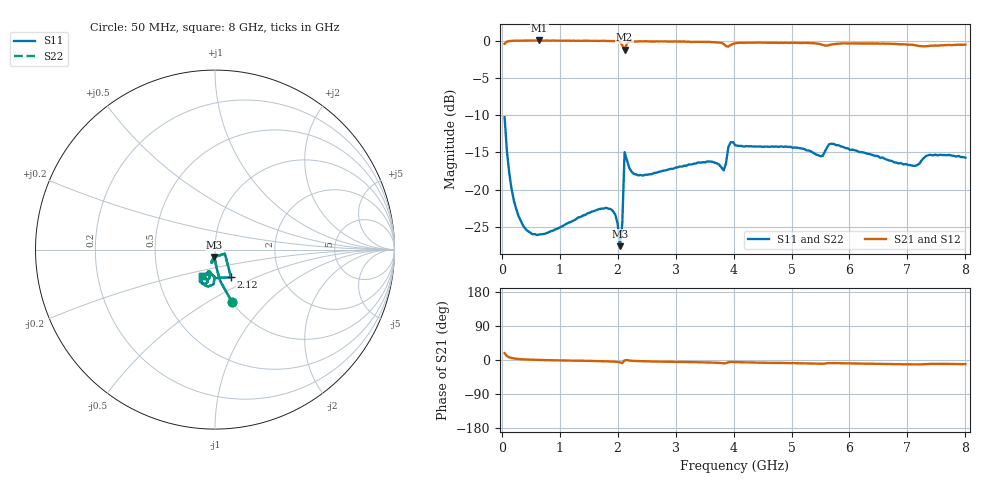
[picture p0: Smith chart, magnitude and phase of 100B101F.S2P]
!  American Technical Ceramics  Date:  3/13/98
!  One Norden Lane
!  Huntington Station,  NY.  11746-2102
!  Tel:  (516) 547-5700  Fax:  (516) 547-5748
!  Part Number  100b101f
!  Description: Porcelain, High Q, Low ESR
!  Application: Bypass, Coupling, Timing, Feedback
!  Tuning, Impedance Match, Blocking
# GHZ S DB R 50
! Freq  |S11|  S11 Ph  |S21|  S21 Ph  |S12|  S12 Ph  |S22|  S22 Ph
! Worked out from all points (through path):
!   201 points, 50 MHz to 8 GHz, reference 50 ohm
!   highest |S21| = 0.02 dB at 650 MHz (marker M1); lowest = -1.2 dB at 2.12 GHz (marker M2)
!   group delay of S21, straight-line fit = 4.84 ps
!   lowest |S11| = -27.6 dB at 2.04 GHz (marker M3), VSWR 1.09, Z = 49.5 - j4.13 ohm
!   |S11| at or under -10 dB: start of sweep to end of sweep
!   |S22| runs from -27.6 to -10.3 dB; largest |S21 - S12| = 0
!   S11 on the Smith chart (normalised r, x): 50 MHz: 1.00, -0.64; 2.12 GHz: 1.13, -0.36; 8 GHz: 0.83, -0.25
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0.05  -10.27 -72.0  -0.43 18.0  -0.43 18.0  -10.27 -72.0
0.13  -17.73 -82.9  -0.06 7.0  -0.06 7.0  -17.73 -82.9
0.25  -22.56 -87.3  0.00 3.2  0.00 3.2  -22.56 -87.3
0.41  -25.23 -90.1  0.00 1.6  0.00 1.6  -25.23 -90.1
0.65  -25.98 -93.1  0.02 0.1  0.02 0.1  -25.98 -93.1
1.4  -23.46 -100.9  -0.02 -2.0  -0.02 -2.0  -23.46 -100.9
1.88  -22.58 -104.9  -0.06 -3.9  -0.06 -3.9  -22.58 -104.9
2  -24.52 -105.1  -0.07 -5.2  -0.07 -5.2  -24.52 -105.1
2.04  -27.56 -95.1  -0.17 -6.3  -0.17 -6.3  -27.56 -95.1
2.08  -24.57 -22.5  -0.62 -8.2  -0.62 -8.2  -24.57 -22.5
2.12  -14.96 -60.0  -1.23 -0.9  -1.23 -0.9  -14.96 -60.0
2.16  -15.98 -89.4  -0.38 -0.1  -0.38 -0.1  -15.98 -89.4
2.28  -17.87 -102.0  -0.13 -2.5  -0.13 -2.5  -17.87 -102.0
2.71  -17.60 -107.5  -0.11 -4.3  -0.11 -4.3  -17.60 -107.5
3.55  -16.19 -110.8  -0.18 -6.4  -0.18 -6.4  -16.19 -110.8
3.83  -17.39 -101.7  -0.44 -8.6  -0.44 -8.6  -17.39 -101.7
3.91  -14.28 -92.2  -0.80 -6.0  -0.80 -6.0  -14.28 -92.2
4.03  -14.03 -108.2  -0.36 -5.4  -0.36 -5.4  -14.03 -108.2
5.38  -15.06 -115.2  -0.35 -9.5  -0.35 -9.5  -15.06 -115.2
5.73  -13.85 -110.9  -0.47 -8.0  -0.47 -8.0  -13.85 -110.9
6.69  -16.09 -113.7  -0.42 -10.6  -0.42 -10.6  -16.09 -113.7
8  -15.70 -115.2  -0.55 -11.0  -0.55 -11.0  -15.70 -115.2
